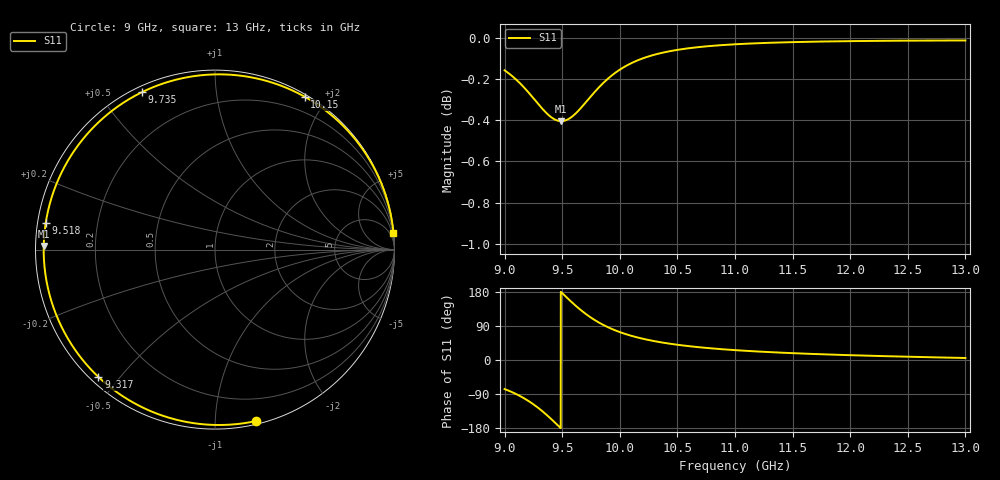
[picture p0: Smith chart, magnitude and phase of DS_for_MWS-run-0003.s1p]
! TOUCHSTONE file generated by CST DESIGN STUDIO
! Date and time: Tue Feb  4 13:33:41 2025
! Project name: C:\Work\MatlabApps\UnitCellOptimizationMatlab\CST\unitcell.cst
! Tree item: Tasks\Sweep1\SPara1\S-Parameters
! Header version: 2024
! Port assignment regex: !\s*Touchstone port\s*([0-9]+)\s*=\s*(CST MWS port|CST DES external port|CST DES block port)\s*(.+)\s* \(\"(.*)\"\)(\s*mode\s*([0-9]+))?.*
! Touchstone port assignment:
! Touchstone port 1 = CST DES external port 1 ("")
# GHz S MA R 50
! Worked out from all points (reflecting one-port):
!   4001 points, 9 GHz to 13 GHz, reference 50 ohm
!   lowest |S11| = -0.4 dB at 9.492 GHz (marker M1), VSWR 43.02, Z = 1.16 + j0.523 ohm
!   phase of S11 starts at -77 deg and turns -278 deg over the sweep
!   S11 on the Smith chart (normalised r, x): 9 GHz: 0.02, -1.27; 9.317 GHz: 0.02, -0.44; 9.518 GHz: 0.02, +0.08; 9.735 GHz: 0.02, +0.64; 10.15 GHz: 0.03, +1.75; 13 GHz: 0, +22
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9  0.9821 -76.6
9.081  0.9781 -87.1
9.181  0.9719 -103.2
9.252  0.9668 -117.4
9.317  0.962 -132.5
9.363  0.9589 -144.3
9.412  0.9563 -157.9
9.453  0.955 -169.7
9.492  0.9546 178.8
9.5  0.9546 176.4
9.518  0.9548 171.1
9.571  0.9563 155.8
9.631  0.9595 139.5
9.682  0.963 126.8
9.735  0.9669 114.9
9.789  0.9708 104.1
9.848  0.9746 93.9
9.923  0.9789 82.9
10  0.9825 73.6
10.152  0.9875 59.6
10.31  0.9909 49.2
10.5  0.9934 40.2
10.722  0.9952 32.7
11  0.9965 26.0
11.5  0.9977 18.0
12  0.9983 12.7
12.5  0.9985 8.6
13  0.9987 5.3
